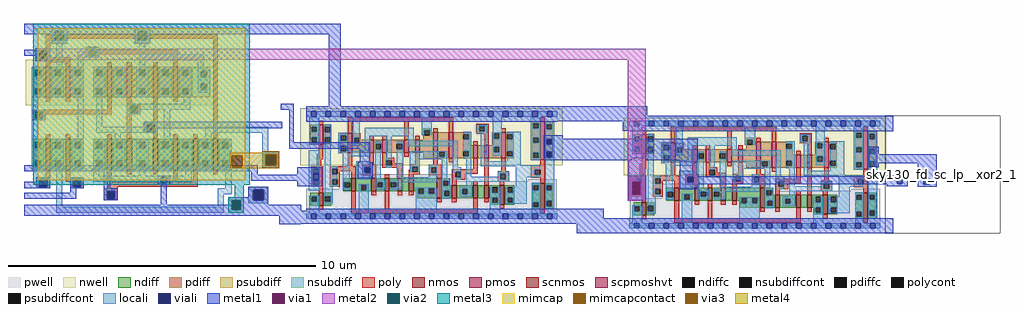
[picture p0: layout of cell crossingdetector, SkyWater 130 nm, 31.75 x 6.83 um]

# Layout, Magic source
magic
tech sky130A
magscale 1 2
<< nwell >>
rect 3389 464 3423 498
rect 5485 314 5549 448
<< pwell >>
rect 3919 99 4039 260
<< poly >>
rect 3918 221 3960 259
rect 3918 138 3999 221
rect 3918 125 3960 138
<< locali >>
rect 3923 221 3964 365
rect 3923 138 3947 221
rect 3999 141 4009 175
rect 3923 102 3964 138
<< viali >>
rect 3389 464 3423 498
rect 3389 382 3423 416
rect 2207 281 2241 315
rect 1872 230 1908 275
rect 3947 138 3999 221
rect 4309 219 4343 253
rect 5670 209 5704 243
rect 5843 206 5878 240
<< metal1 >>
rect 1606 1180 2049 1250
rect 1659 691 1746 730
rect 1971 703 2049 1180
rect 1666 690 1746 691
rect 1714 479 1746 690
rect 3432 650 4045 711
rect 3432 614 4499 650
rect 3886 553 4499 614
rect 5552 551 5644 649
rect 3370 500 3496 523
rect 3370 498 4372 500
rect 1714 435 2238 479
rect 2173 349 2238 435
rect 3370 464 3389 498
rect 3423 464 4372 498
rect 3370 416 4372 464
rect 3370 382 3389 416
rect 3423 382 4372 416
rect 3370 374 4372 382
rect 3370 361 3944 374
rect 4040 361 4372 374
rect 5485 401 5549 448
rect 40 290 1512 330
rect 1467 268 1512 290
rect 1766 275 1931 316
rect 1766 268 1872 275
rect 1467 230 1872 268
rect 1908 230 1931 275
rect 2161 315 2259 349
rect 2161 281 2207 315
rect 2241 281 2259 315
rect 2161 243 2259 281
rect 1467 227 1931 230
rect 1766 192 1931 227
rect 3919 221 4039 260
rect 3919 220 3947 221
rect 3919 138 3946 220
rect 3999 138 4039 221
rect 4255 258 4371 361
rect 5485 343 5926 401
rect 5485 314 5549 343
rect 5601 258 5738 264
rect 4255 253 5738 258
rect 4255 219 4309 253
rect 4343 243 5738 253
rect 4343 219 5670 243
rect 4255 209 5670 219
rect 5704 209 5738 243
rect 4255 205 5738 209
rect 4255 173 4371 205
rect 5601 191 5738 205
rect 5804 240 5926 343
rect 5804 206 5843 240
rect 5878 206 5926 240
rect 5804 189 5926 206
rect 3919 99 4039 138
rect 1650 32 1792 70
rect 1650 -39 1845 32
rect 3457 -17 3762 45
rect 1650 -53 1831 -39
rect 3457 -53 3990 -17
rect 1650 -55 1792 -53
rect 3587 -115 3990 -53
rect 5551 -115 5643 -17
<< via1 >>
rect 87 1019 141 1072
rect 3946 138 3947 220
rect 3947 138 3999 221
<< metal2 >>
rect 62 1086 170 1090
rect 62 1072 4034 1086
rect 62 1019 87 1072
rect 141 1019 4034 1072
rect 62 1016 4034 1019
rect 62 1004 170 1016
rect 3919 221 4034 1016
rect 3919 220 3947 221
rect 3919 138 3946 220
rect 3999 138 4034 221
rect 3919 98 4034 138
use doubletaillatchcomparator  doubletaillatchcomparator_0
transform 1 0 530 0 1 220
box -540 -220 1140 1030
use sky130_fd_sc_lp__dfxtp_1  sky130_fd_sc_lp__dfxtp_1_0 ~/sky130A/libs.ref/sky130_fd_sc_lp/mag
transform 1 0 1826 0 1 -4
box -38 -49 1670 715
use sky130_fd_sc_lp__dfxtp_1  sky130_fd_sc_lp__dfxtp_1_1
transform 1 0 3928 0 1 -66
box -38 -49 1670 715
use sky130_fd_sc_lp__xor2_1  sky130_fd_sc_lp__xor2_1_0 ~/sky130A/libs.ref/sky130_fd_sc_lp/mag
transform 1 0 5629 0 1 -66
box -38 -49 710 715
<< end >>

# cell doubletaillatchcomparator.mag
magic
tech sky130A
<< nwell >>
rect -265 250 356 398
<< nmos >>
rect -200 40 -185 140
rect -135 40 -120 140
rect 0 40 15 140
rect 65 40 80 140
rect 150 40 165 140
rect 215 40 230 140
rect 280 40 295 140
rect 345 40 360 140
<< pmos >>
rect -200 275 -185 375
rect -135 275 -120 375
rect 0 275 15 375
rect 65 275 80 375
rect 150 275 165 375
rect 215 275 230 375
<< ndiff >>
rect -245 130 -200 140
rect -245 110 -235 130
rect -215 110 -200 130
rect -245 70 -200 110
rect -245 50 -235 70
rect -215 50 -200 70
rect -245 40 -200 50
rect -185 130 -135 140
rect -185 110 -170 130
rect -150 110 -135 130
rect -185 70 -135 110
rect -185 50 -170 70
rect -150 50 -135 70
rect -185 40 -135 50
rect -120 130 -75 140
rect -120 110 -105 130
rect -85 110 -75 130
rect -120 70 -75 110
rect -120 50 -105 70
rect -85 50 -75 70
rect -120 40 -75 50
rect -45 130 0 140
rect -45 110 -35 130
rect -15 110 0 130
rect -45 70 0 110
rect -45 50 -35 70
rect -15 50 0 70
rect -45 40 0 50
rect 15 130 65 140
rect 15 110 30 130
rect 50 110 65 130
rect 15 70 65 110
rect 15 50 30 70
rect 50 50 65 70
rect 15 40 65 50
rect 80 130 150 140
rect 80 110 105 130
rect 125 110 150 130
rect 80 70 150 110
rect 80 50 105 70
rect 125 50 150 70
rect 80 40 150 50
rect 165 130 215 140
rect 165 110 180 130
rect 200 110 215 130
rect 165 70 215 110
rect 165 50 180 70
rect 200 50 215 70
rect 165 40 215 50
rect 230 130 280 140
rect 230 110 245 130
rect 265 110 280 130
rect 230 70 280 110
rect 230 50 245 70
rect 265 50 280 70
rect 230 40 280 50
rect 295 130 345 140
rect 295 110 310 130
rect 330 110 345 130
rect 295 70 345 110
rect 295 50 310 70
rect 330 50 345 70
rect 295 40 345 50
rect 360 130 405 140
rect 360 110 375 130
rect 395 110 405 130
rect 360 70 405 110
rect 360 50 375 70
rect 395 50 405 70
rect 360 40 405 50
<< pdiff >>
rect -245 365 -200 375
rect -245 345 -235 365
rect -215 345 -200 365
rect -245 305 -200 345
rect -245 285 -235 305
rect -215 285 -200 305
rect -245 275 -200 285
rect -185 365 -135 375
rect -185 345 -170 365
rect -150 345 -135 365
rect -185 305 -135 345
rect -185 285 -170 305
rect -150 285 -135 305
rect -185 275 -135 285
rect -120 365 -75 375
rect -120 345 -105 365
rect -85 345 -75 365
rect -120 305 -75 345
rect -120 285 -105 305
rect -85 285 -75 305
rect -120 275 -75 285
rect -45 365 0 375
rect -45 345 -35 365
rect -15 345 0 365
rect -45 305 0 345
rect -45 285 -35 305
rect -15 285 0 305
rect -45 275 0 285
rect 15 365 65 375
rect 15 345 30 365
rect 50 345 65 365
rect 15 305 65 345
rect 15 285 30 305
rect 50 285 65 305
rect 15 275 65 285
rect 80 365 150 375
rect 80 345 105 365
rect 125 345 150 365
rect 80 305 150 345
rect 80 285 105 305
rect 125 285 150 305
rect 80 275 150 285
rect 165 365 215 375
rect 165 345 180 365
rect 200 345 215 365
rect 165 305 215 345
rect 165 285 180 305
rect 200 285 215 305
rect 165 275 215 285
rect 230 365 275 375
rect 230 345 245 365
rect 265 345 275 365
rect 230 305 275 345
rect 230 285 245 305
rect 265 285 275 305
rect 230 275 275 285
<< ndiffc >>
rect -235 110 -215 130
rect -235 50 -215 70
rect -170 110 -150 130
rect -170 50 -150 70
rect -105 110 -85 130
rect -105 50 -85 70
rect -35 110 -15 130
rect -35 50 -15 70
rect 30 110 50 130
rect 30 50 50 70
rect 105 110 125 130
rect 105 50 125 70
rect 180 110 200 130
rect 180 50 200 70
rect 245 110 265 130
rect 245 50 265 70
rect 310 110 330 130
rect 310 50 330 70
rect 375 110 395 130
rect 375 50 395 70
<< pdiffc >>
rect -235 345 -215 365
rect -235 285 -215 305
rect -170 345 -150 365
rect -170 285 -150 305
rect -105 345 -85 365
rect -105 285 -85 305
rect -35 345 -15 365
rect -35 285 -15 305
rect 30 345 50 365
rect 30 285 50 305
rect 105 345 125 365
rect 105 285 125 305
rect 180 345 200 365
rect 180 285 200 305
rect 245 345 265 365
rect 245 285 265 305
<< psubdiff >>
rect 460 -25 525 -15
rect 460 -60 475 -25
rect 510 -60 525 -25
rect 460 -70 525 -60
<< nsubdiff >>
rect 275 360 335 375
rect 275 340 305 360
rect 325 340 335 360
rect 275 320 335 340
rect 275 300 305 320
rect 325 300 335 320
rect 275 275 335 300
<< psubdiffcont >>
rect 475 -60 510 -25
<< nsubdiffcont >>
rect 305 340 325 360
rect 305 300 325 320
<< poly >>
rect -200 465 360 480
rect -200 430 -185 465
rect -230 425 -185 430
rect -230 400 -220 425
rect -195 405 -185 425
rect -70 435 -25 440
rect -70 410 -60 435
rect -35 430 -25 435
rect -35 415 230 430
rect -35 410 -25 415
rect -70 405 -25 410
rect -195 400 -120 405
rect -230 395 -120 400
rect -200 390 -120 395
rect -200 375 -185 390
rect -135 375 -120 390
rect 0 375 15 390
rect 65 375 80 390
rect 150 375 165 390
rect 215 375 230 415
rect -200 260 -185 275
rect -135 260 -120 275
rect 0 235 15 275
rect -245 230 15 235
rect -245 205 -235 230
rect -210 220 15 230
rect 65 255 80 275
rect 65 250 110 255
rect 65 225 75 250
rect 100 225 110 250
rect 65 220 110 225
rect -210 205 -200 220
rect -245 200 -200 205
rect -200 140 -185 155
rect -135 140 -120 155
rect 0 140 15 155
rect 65 140 80 220
rect 150 195 165 275
rect 215 260 230 275
rect 120 190 165 195
rect 120 165 130 190
rect 155 165 165 190
rect 120 160 165 165
rect 150 140 165 160
rect 215 140 230 155
rect 280 140 295 155
rect 345 140 360 465
rect -200 15 -185 40
rect -230 10 -185 15
rect -230 -15 -220 10
rect -195 -15 -185 10
rect -135 15 -120 40
rect -135 10 -75 15
rect -135 0 -110 10
rect -230 -20 -185 -15
rect -120 -15 -110 0
rect -85 -15 -75 10
rect -120 -20 -75 -15
rect 0 0 15 40
rect 65 25 80 40
rect 150 25 165 40
rect 215 0 230 40
rect 280 0 295 40
rect 345 25 360 40
rect 0 -15 295 0
rect 0 -20 35 -15
rect -10 -30 35 -20
rect -10 -55 0 -30
rect 25 -55 35 -30
rect -10 -60 35 -55
<< polycont >>
rect -220 400 -195 425
rect -60 410 -35 435
rect -235 205 -210 230
rect 75 225 100 250
rect 130 165 155 190
rect -220 -15 -195 10
rect -110 -15 -85 10
rect 0 -55 25 -30
<< locali >>
rect -180 490 -130 500
rect -180 460 -170 490
rect -140 460 -130 490
rect -180 450 -130 460
rect 90 490 140 500
rect 90 460 100 490
rect 130 460 140 490
rect 90 450 140 460
rect -230 425 -185 430
rect -230 400 -220 425
rect -195 400 -185 425
rect -230 395 -185 400
rect -165 375 -145 450
rect -70 435 -25 440
rect -70 425 -60 435
rect -95 410 -60 425
rect -35 410 -25 435
rect -95 405 -25 410
rect 105 415 125 450
rect -95 375 -75 405
rect 105 395 315 415
rect 105 375 125 395
rect -245 365 -205 375
rect -245 345 -235 365
rect -215 345 -205 365
rect -245 305 -205 345
rect -245 285 -235 305
rect -215 285 -205 305
rect -245 275 -205 285
rect -180 365 -140 375
rect -180 345 -170 365
rect -150 345 -140 365
rect -180 305 -140 345
rect -180 285 -170 305
rect -150 285 -140 305
rect -180 275 -140 285
rect -115 365 -75 375
rect -115 345 -105 365
rect -85 345 -75 365
rect -115 305 -75 345
rect -115 285 -105 305
rect -85 285 -75 305
rect -115 275 -75 285
rect -45 365 -5 375
rect -45 345 -35 365
rect -15 345 -5 365
rect -45 305 -5 345
rect -45 285 -35 305
rect -15 285 -5 305
rect -45 275 -5 285
rect 20 365 60 375
rect 20 345 30 365
rect 50 345 60 365
rect 20 305 60 345
rect 20 285 30 305
rect 50 285 60 305
rect 20 275 60 285
rect 95 365 135 375
rect 95 345 105 365
rect 125 345 135 365
rect 95 305 135 345
rect 95 285 105 305
rect 125 285 135 305
rect 95 275 135 285
rect 170 365 210 375
rect 170 345 180 365
rect 200 345 210 365
rect 170 305 210 345
rect 170 285 180 305
rect 200 285 210 305
rect 170 275 210 285
rect 235 365 275 375
rect 235 345 245 365
rect 265 345 275 365
rect 235 305 275 345
rect 235 285 245 305
rect 265 285 275 305
rect 295 365 315 395
rect 295 360 335 365
rect 295 340 305 360
rect 325 340 335 360
rect 295 320 335 340
rect 295 300 305 320
rect 325 300 335 320
rect 295 290 335 300
rect 235 275 275 285
rect -245 235 -225 275
rect -245 230 -200 235
rect -245 205 -235 230
rect -210 205 -200 230
rect -245 200 -200 205
rect -245 140 -225 200
rect -95 140 -75 275
rect -35 180 -15 275
rect 250 255 270 275
rect 65 250 270 255
rect 65 225 75 250
rect 100 235 270 250
rect 100 225 110 235
rect 65 220 110 225
rect 120 190 165 195
rect 120 180 130 190
rect -35 165 130 180
rect 155 165 165 190
rect -35 160 165 165
rect 25 140 45 160
rect 185 140 205 235
rect 320 160 525 180
rect 320 140 340 160
rect -245 130 -205 140
rect -245 110 -235 130
rect -215 110 -205 130
rect -245 70 -205 110
rect -245 50 -235 70
rect -215 50 -205 70
rect -245 40 -205 50
rect -180 130 -140 140
rect -180 110 -170 130
rect -150 110 -140 130
rect -180 70 -140 110
rect -180 50 -170 70
rect -150 50 -140 70
rect -180 40 -140 50
rect -115 130 -75 140
rect -115 110 -105 130
rect -85 110 -75 130
rect -115 70 -75 110
rect -115 50 -105 70
rect -85 50 -75 70
rect -115 40 -75 50
rect -45 130 -5 140
rect -45 110 -35 130
rect -15 110 -5 130
rect -45 70 -5 110
rect -45 50 -35 70
rect -15 50 -5 70
rect -45 40 -5 50
rect 20 130 60 140
rect 20 110 30 130
rect 50 110 60 130
rect 20 70 60 110
rect 20 50 30 70
rect 50 50 60 70
rect 20 40 60 50
rect 95 130 135 140
rect 95 110 105 130
rect 125 110 135 130
rect 95 70 135 110
rect 95 50 105 70
rect 125 50 135 70
rect 95 40 135 50
rect 170 130 210 140
rect 170 110 180 130
rect 200 110 210 130
rect 170 70 210 110
rect 170 50 180 70
rect 200 50 210 70
rect 170 40 210 50
rect 235 130 275 140
rect 235 110 245 130
rect 265 110 275 130
rect 235 70 275 110
rect 235 50 245 70
rect 265 50 275 70
rect 235 40 275 50
rect 300 130 340 140
rect 300 110 310 130
rect 330 110 340 130
rect 300 70 340 110
rect 300 50 310 70
rect 330 50 340 70
rect 300 40 340 50
rect 365 130 405 140
rect 365 110 375 130
rect 395 110 405 130
rect 365 70 405 110
rect 365 50 375 70
rect 395 50 405 70
rect 365 40 405 50
rect 505 100 525 160
rect 505 90 560 100
rect 505 55 515 90
rect 550 55 560 90
rect 505 45 560 55
rect -230 10 -185 15
rect -230 -15 -220 10
rect -195 -15 -185 10
rect -230 -20 -185 -15
rect -165 -80 -145 40
rect -45 20 -25 40
rect 105 20 125 40
rect 255 20 275 40
rect -45 15 275 20
rect -120 10 -75 15
rect -120 -15 -110 10
rect -85 -15 -75 10
rect -45 0 175 15
rect 165 -5 175 0
rect 195 0 275 15
rect 195 -5 205 0
rect 165 -10 205 -5
rect -120 -20 -75 -15
rect 385 -20 405 40
rect -10 -30 35 -20
rect -10 -55 0 -30
rect 25 -55 35 -30
rect -10 -60 35 -55
rect 360 -40 405 -20
rect 460 -25 525 -15
rect 360 -80 380 -40
rect 460 -60 475 -25
rect 510 -60 525 -25
rect -165 -100 380 -80
rect 460 -70 525 -60
<< viali >>
rect -170 460 -140 490
rect 100 460 130 490
rect -220 400 -195 425
rect 130 165 155 190
rect 515 55 550 90
rect -220 -15 -195 10
rect -110 -15 -85 10
rect 175 -5 195 15
rect 0 -55 25 -30
rect 475 -60 510 -25
rect 405 -90 435 -60
<< metal1 >>
rect -270 490 570 515
rect -270 480 -170 490
rect -180 460 -170 480
rect -140 480 100 490
rect -140 460 -130 480
rect -180 450 -130 460
rect 90 460 100 480
rect 130 480 570 490
rect 130 460 140 480
rect 90 450 140 460
rect -270 425 -185 430
rect -270 410 -220 425
rect -230 400 -220 410
rect -195 400 -185 425
rect -230 395 -185 400
rect 120 190 570 195
rect 120 165 130 190
rect 155 175 570 190
rect 155 165 165 175
rect 120 160 165 165
rect 505 90 560 100
rect 505 55 515 90
rect 550 55 560 90
rect -270 35 10 55
rect 505 45 560 55
rect -230 10 -185 15
rect -230 0 -220 10
rect -270 -15 -220 0
rect -195 -15 -185 10
rect -270 -20 -185 -15
rect -120 10 -75 15
rect -120 -15 -110 10
rect -85 -15 -75 10
rect -120 -20 -75 -15
rect -10 -20 10 35
rect 165 15 205 20
rect 165 -5 175 15
rect 195 -5 205 15
rect 165 -10 205 -5
rect -120 -35 -100 -20
rect -270 -55 -100 -35
rect -10 -30 35 -20
rect -10 -55 0 -30
rect 25 -55 35 -30
rect -10 -60 35 -55
rect 175 -75 195 -10
rect 460 -25 525 -15
rect 460 -50 475 -25
rect 395 -60 475 -50
rect 510 -60 525 -25
rect 395 -75 405 -60
rect -270 -90 405 -75
rect 435 -75 525 -60
rect 435 -90 570 -75
rect -270 -110 570 -90
<< via1 >>
rect 515 55 550 90
rect 405 -90 435 -60
<< metal2 >>
rect 505 90 560 100
rect 505 55 515 90
rect 550 55 560 90
rect 505 45 560 55
rect 395 -60 445 -50
rect 395 -90 405 -60
rect 435 -90 445 -60
rect 395 -100 445 -90
<< via2 >>
rect 515 55 550 90
rect 405 -90 435 -60
<< metal3 >>
rect -240 -10 465 515
rect 505 90 560 100
rect 505 55 515 90
rect 550 55 560 90
rect 505 45 560 55
rect 415 -50 445 -10
rect 395 -60 445 -50
rect 395 -90 405 -60
rect 435 -90 445 -60
rect 395 -100 445 -90
<< via3 >>
rect 515 55 550 90
<< mimcap >>
rect -225 85 450 500
rect -225 50 405 85
rect 440 50 450 85
rect -225 5 450 50
<< mimcapcontact >>
rect 405 50 440 85
<< metal4 >>
rect 505 95 560 100
rect 400 90 560 95
rect 400 85 515 90
rect 400 50 405 85
rect 440 55 515 85
rect 550 55 560 90
rect 440 50 560 55
rect 400 45 560 50
<< labels >>
rlabel metal1 -270 -15 -270 -15 7 Vref1
rlabel metal1 -270 425 -270 425 7 clk
rlabel metal1 -270 -90 -270 -90 7 GND
rlabel metal1 -270 490 -270 490 7 VDD
rlabel metal1 -270 45 -270 45 7 clkbar
rlabel metal1 -270 -45 -270 -45 7 vref2
rlabel metal1 569 -95 570 -95 3 gnd
rlabel metal1 569 497 570 497 3 vdd
rlabel metal1 570 186 570 186 3 out
<< end >>

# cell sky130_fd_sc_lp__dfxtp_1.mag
magic
tech sky130A
magscale 1 2
<< nwell >>
rect -38 331 1670 704
<< pwell >>
rect 214 229 959 273
rect 1443 229 1631 241
rect 214 180 1631 229
rect 1 49 1631 180
rect 0 0 1632 49
<< scnmos >>
rect 293 163 323 247
rect 424 163 454 247
rect 510 163 540 247
rect 596 163 626 247
rect 668 163 698 247
rect 80 70 110 154
rect 850 119 880 247
rect 948 119 978 203
rect 1086 119 1116 203
rect 1158 119 1188 203
rect 1259 75 1289 203
rect 1522 47 1552 215
<< scpmoshvt >>
rect 80 468 110 596
rect 270 413 300 541
rect 410 413 440 497
rect 496 413 526 497
rect 636 413 666 497
rect 708 413 738 497
rect 825 379 855 547
rect 927 379 957 547
rect 1086 379 1116 463
rect 1158 379 1188 463
rect 1267 379 1297 547
rect 1522 367 1552 619
<< ndiff >>
rect 240 221 293 247
rect 240 187 248 221
rect 282 187 293 221
rect 240 163 293 187
rect 323 205 424 247
rect 323 171 358 205
rect 392 171 424 205
rect 323 163 424 171
rect 454 222 510 247
rect 454 188 465 222
rect 499 188 510 222
rect 454 163 510 188
rect 540 222 596 247
rect 540 188 551 222
rect 585 188 596 222
rect 540 163 596 188
rect 626 163 668 247
rect 698 182 850 247
rect 698 163 730 182
rect 27 129 80 154
rect 27 95 35 129
rect 69 95 80 129
rect 27 70 80 95
rect 110 130 163 154
rect 110 96 121 130
rect 155 96 163 130
rect 110 70 163 96
rect 722 148 730 163
rect 764 148 798 182
rect 832 148 850 182
rect 722 119 850 148
rect 880 233 933 247
rect 880 199 891 233
rect 925 203 933 233
rect 1469 203 1522 215
rect 925 199 948 203
rect 880 165 948 199
rect 880 131 897 165
rect 931 131 948 165
rect 880 119 948 131
rect 978 178 1086 203
rect 978 144 1014 178
rect 1048 144 1086 178
rect 978 119 1086 144
rect 1116 119 1158 203
rect 1188 189 1259 203
rect 1188 155 1211 189
rect 1245 155 1259 189
rect 1188 121 1259 155
rect 1188 119 1211 121
rect 1203 87 1211 119
rect 1245 87 1259 121
rect 1203 75 1259 87
rect 1289 189 1353 203
rect 1289 155 1311 189
rect 1345 155 1353 189
rect 1289 121 1353 155
rect 1289 87 1311 121
rect 1345 87 1353 121
rect 1289 75 1353 87
rect 1469 169 1477 203
rect 1511 169 1522 203
rect 1469 93 1522 169
rect 1469 59 1477 93
rect 1511 59 1522 93
rect 1469 47 1522 59
rect 1552 203 1605 215
rect 1552 169 1563 203
rect 1597 169 1605 203
rect 1552 101 1605 169
rect 1552 67 1563 101
rect 1597 67 1605 101
rect 1552 47 1605 67
<< pdiff >>
rect 27 584 80 596
rect 27 550 35 584
rect 69 550 80 584
rect 27 515 80 550
rect 27 481 35 515
rect 69 481 80 515
rect 27 468 80 481
rect 110 582 163 596
rect 110 548 121 582
rect 155 548 163 582
rect 110 514 163 548
rect 110 480 121 514
rect 155 480 163 514
rect 110 468 163 480
rect 217 527 270 541
rect 217 493 225 527
rect 259 493 270 527
rect 217 459 270 493
rect 217 425 225 459
rect 259 425 270 459
rect 217 413 270 425
rect 300 510 353 541
rect 300 476 311 510
rect 345 497 353 510
rect 760 561 810 573
rect 760 527 768 561
rect 802 547 810 561
rect 1469 607 1522 619
rect 1469 573 1477 607
rect 1511 573 1522 607
rect 802 527 825 547
rect 760 497 825 527
rect 345 476 410 497
rect 300 413 410 476
rect 440 471 496 497
rect 440 437 451 471
rect 485 437 496 471
rect 440 413 496 437
rect 526 471 636 497
rect 526 437 589 471
rect 623 437 636 471
rect 526 413 636 437
rect 666 413 708 497
rect 738 413 825 497
rect 760 379 825 413
rect 855 421 927 547
rect 855 387 866 421
rect 900 387 927 421
rect 855 379 927 387
rect 957 535 1064 547
rect 957 501 1022 535
rect 1056 501 1064 535
rect 957 463 1064 501
rect 1210 539 1267 547
rect 1210 505 1222 539
rect 1256 505 1267 539
rect 1210 463 1267 505
rect 957 425 1086 463
rect 957 391 1022 425
rect 1056 391 1086 425
rect 957 379 1086 391
rect 1116 379 1158 463
rect 1188 452 1267 463
rect 1188 418 1223 452
rect 1257 418 1267 452
rect 1188 379 1267 418
rect 1297 534 1350 547
rect 1297 500 1308 534
rect 1342 500 1350 534
rect 1297 425 1350 500
rect 1297 391 1308 425
rect 1342 391 1350 425
rect 1297 379 1350 391
rect 1469 512 1522 573
rect 1469 478 1477 512
rect 1511 478 1522 512
rect 1469 415 1522 478
rect 1469 381 1477 415
rect 1511 381 1522 415
rect 1469 367 1522 381
rect 1552 599 1605 619
rect 1552 565 1563 599
rect 1597 565 1605 599
rect 1552 502 1605 565
rect 1552 468 1563 502
rect 1597 468 1605 502
rect 1552 420 1605 468
rect 1552 386 1563 420
rect 1597 386 1605 420
rect 1552 367 1605 386
<< ndiffc >>
rect 248 187 282 221
rect 358 171 392 205
rect 465 188 499 222
rect 551 188 585 222
rect 35 95 69 129
rect 121 96 155 130
rect 730 148 764 182
rect 798 148 832 182
rect 891 199 925 233
rect 897 131 931 165
rect 1014 144 1048 178
rect 1211 155 1245 189
rect 1211 87 1245 121
rect 1311 155 1345 189
rect 1311 87 1345 121
rect 1477 169 1511 203
rect 1477 59 1511 93
rect 1563 169 1597 203
rect 1563 67 1597 101
<< pdiffc >>
rect 35 550 69 584
rect 35 481 69 515
rect 121 548 155 582
rect 121 480 155 514
rect 225 493 259 527
rect 225 425 259 459
rect 311 476 345 510
rect 768 527 802 561
rect 1477 573 1511 607
rect 451 437 485 471
rect 589 437 623 471
rect 866 387 900 421
rect 1022 501 1056 535
rect 1222 505 1256 539
rect 1022 391 1056 425
rect 1223 418 1257 452
rect 1308 500 1342 534
rect 1308 391 1342 425
rect 1477 478 1511 512
rect 1477 381 1511 415
rect 1563 565 1597 599
rect 1563 468 1597 502
rect 1563 386 1597 420
<< poly >>
rect 80 596 110 622
rect 270 615 957 645
rect 1522 619 1552 645
rect 270 541 300 615
rect 80 403 110 468
rect 410 497 440 523
rect 496 497 526 523
rect 636 497 666 615
rect 825 547 855 573
rect 927 547 957 615
rect 1107 586 1188 602
rect 1107 552 1126 586
rect 1160 552 1188 586
rect 708 497 738 523
rect 67 373 110 403
rect 67 325 97 373
rect 270 325 300 413
rect 410 335 440 413
rect 496 381 526 413
rect 636 387 666 413
rect 496 365 571 381
rect 31 309 110 325
rect 31 275 47 309
rect 81 275 110 309
rect 31 241 110 275
rect 31 207 47 241
rect 81 207 110 241
rect 31 191 110 207
rect 152 309 323 325
rect 152 275 168 309
rect 202 295 323 309
rect 202 275 218 295
rect 152 241 218 275
rect 293 247 323 295
rect 365 319 454 335
rect 365 285 381 319
rect 415 285 454 319
rect 496 331 521 365
rect 555 345 571 365
rect 555 331 626 345
rect 708 339 738 413
rect 1107 536 1188 552
rect 1267 547 1297 573
rect 1086 463 1116 489
rect 1158 463 1188 536
rect 496 315 626 331
rect 365 269 454 285
rect 424 247 454 269
rect 510 247 540 273
rect 596 247 626 315
rect 674 323 740 339
rect 825 335 855 379
rect 927 353 957 379
rect 674 303 690 323
rect 668 289 690 303
rect 724 289 740 323
rect 668 273 740 289
rect 796 319 880 335
rect 796 285 812 319
rect 846 285 880 319
rect 1086 307 1116 379
rect 1005 305 1116 307
rect 668 247 698 273
rect 796 269 880 285
rect 850 247 880 269
rect 948 289 1116 305
rect 948 255 971 289
rect 1005 277 1116 289
rect 1005 255 1035 277
rect 152 207 168 241
rect 202 207 218 241
rect 152 191 218 207
rect 80 154 110 191
rect 80 44 110 70
rect 293 51 323 163
rect 424 137 454 163
rect 510 51 540 163
rect 596 137 626 163
rect 668 137 698 163
rect 948 239 1035 255
rect 948 203 978 239
rect 1086 203 1116 229
rect 1158 203 1188 379
rect 1267 294 1297 379
rect 1522 331 1552 367
rect 1459 304 1552 331
rect 1245 291 1317 294
rect 1245 277 1319 291
rect 1245 242 1263 277
rect 1299 242 1319 277
rect 1459 270 1487 304
rect 1521 270 1552 304
rect 1459 250 1552 270
rect 1245 224 1319 242
rect 1259 203 1289 224
rect 1522 215 1552 250
rect 850 93 880 119
rect 948 93 978 119
rect 1086 51 1116 119
rect 1158 93 1188 119
rect 293 21 1116 51
rect 1259 49 1289 75
rect 1522 21 1552 47
<< polycont >>
rect 1126 552 1160 586
rect 47 275 81 309
rect 47 207 81 241
rect 168 275 202 309
rect 381 285 415 319
rect 521 331 555 365
rect 690 289 724 323
rect 812 285 846 319
rect 971 255 1005 289
rect 168 207 202 241
rect 1263 242 1299 277
rect 1487 270 1521 304
<< locali >>
rect 0 649 31 683
rect 65 649 127 683
rect 161 649 223 683
rect 257 649 319 683
rect 353 649 415 683
rect 449 649 511 683
rect 545 649 607 683
rect 641 649 703 683
rect 737 649 799 683
rect 833 649 895 683
rect 929 649 991 683
rect 1025 649 1087 683
rect 1121 649 1183 683
rect 1217 649 1279 683
rect 1313 649 1375 683
rect 1409 649 1471 683
rect 1505 649 1567 683
rect 1601 649 1632 683
rect 19 584 85 649
rect 19 550 35 584
rect 69 550 85 584
rect 19 515 85 550
rect 19 481 35 515
rect 69 481 85 515
rect 19 465 85 481
rect 119 582 159 598
rect 119 548 121 582
rect 155 548 159 582
rect 119 514 159 548
rect 119 480 121 514
rect 155 480 159 514
rect 17 309 85 431
rect 17 275 47 309
rect 81 275 85 309
rect 17 241 85 275
rect 17 207 47 241
rect 81 207 85 241
rect 17 168 85 207
rect 119 325 159 480
rect 209 527 270 543
rect 209 493 225 527
rect 259 493 270 527
rect 209 459 270 493
rect 304 510 347 649
rect 304 476 311 510
rect 345 476 347 510
rect 304 460 347 476
rect 381 521 699 576
rect 752 561 818 649
rect 752 527 768 561
rect 802 527 818 561
rect 1110 586 1177 597
rect 1110 552 1126 586
rect 1160 552 1177 586
rect 1022 535 1075 551
rect 1110 541 1177 552
rect 209 425 225 459
rect 259 426 270 459
rect 381 426 415 521
rect 259 425 415 426
rect 209 409 415 425
rect 236 392 415 409
rect 449 471 485 487
rect 449 437 451 471
rect 119 309 202 325
rect 119 275 168 309
rect 119 241 202 275
rect 119 207 168 241
rect 119 191 202 207
rect 236 221 282 392
rect 325 319 415 358
rect 325 285 381 319
rect 325 242 415 285
rect 19 129 85 134
rect 19 95 35 129
rect 69 95 85 129
rect 19 17 85 95
rect 119 130 171 191
rect 236 187 248 221
rect 449 238 485 437
rect 519 365 555 521
rect 665 491 699 521
rect 1056 501 1075 535
rect 519 331 521 365
rect 519 315 555 331
rect 589 471 631 487
rect 623 437 631 471
rect 665 457 986 491
rect 589 255 631 437
rect 674 421 916 423
rect 674 387 866 421
rect 900 387 916 421
rect 674 371 916 387
rect 674 323 740 371
rect 674 289 690 323
rect 724 289 740 323
rect 796 319 848 335
rect 796 285 812 319
rect 846 285 848 319
rect 796 255 848 285
rect 589 238 848 255
rect 449 222 515 238
rect 236 171 282 187
rect 342 205 408 208
rect 342 171 358 205
rect 392 171 408 205
rect 449 188 465 222
rect 499 188 515 222
rect 449 172 515 188
rect 551 222 848 238
rect 585 221 848 222
rect 882 249 916 371
rect 952 319 986 457
rect 1022 425 1075 501
rect 1056 391 1075 425
rect 1022 375 1075 391
rect 952 289 1007 319
rect 952 285 971 289
rect 1005 255 1007 289
rect 882 233 937 249
rect 971 239 1007 255
rect 1041 259 1075 375
rect 1135 359 1170 541
rect 1212 539 1272 649
rect 1461 607 1521 649
rect 1461 573 1477 607
rect 1511 573 1521 607
rect 1212 505 1222 539
rect 1256 505 1272 539
rect 1212 452 1272 505
rect 1212 418 1223 452
rect 1257 418 1272 452
rect 1212 393 1272 418
rect 1308 534 1397 550
rect 1342 500 1397 534
rect 1308 425 1397 500
rect 1342 391 1397 425
rect 1308 359 1397 391
rect 1461 512 1521 573
rect 1461 478 1477 512
rect 1511 478 1521 512
rect 1461 415 1521 478
rect 1461 381 1477 415
rect 1511 381 1521 415
rect 1461 365 1521 381
rect 1555 599 1613 615
rect 1555 565 1563 599
rect 1597 565 1613 599
rect 1555 502 1613 565
rect 1555 468 1563 502
rect 1597 468 1613 502
rect 1555 420 1613 468
rect 1555 386 1563 420
rect 1597 386 1613 420
rect 1135 331 1397 359
rect 1135 325 1521 331
rect 1363 304 1521 325
rect 1245 277 1319 291
rect 1245 259 1263 277
rect 1041 242 1263 259
rect 1299 242 1319 277
rect 585 188 625 221
rect 551 172 625 188
rect 882 199 891 233
rect 925 199 937 233
rect 714 182 848 187
rect 119 96 121 130
rect 155 96 171 130
rect 119 80 171 96
rect 342 17 408 171
rect 714 148 730 182
rect 764 148 798 182
rect 832 148 848 182
rect 714 17 848 148
rect 882 165 937 199
rect 1041 225 1319 242
rect 1041 194 1079 225
rect 1245 224 1319 225
rect 1363 270 1487 304
rect 1363 254 1521 270
rect 882 131 897 165
rect 931 131 937 165
rect 882 115 937 131
rect 998 178 1079 194
rect 1363 189 1434 254
rect 998 144 1014 178
rect 1048 144 1079 178
rect 998 128 1079 144
rect 1195 155 1211 189
rect 1245 155 1261 189
rect 1195 121 1261 155
rect 1195 87 1211 121
rect 1245 87 1261 121
rect 1195 17 1261 87
rect 1295 155 1311 189
rect 1345 155 1434 189
rect 1295 121 1434 155
rect 1295 87 1311 121
rect 1345 87 1434 121
rect 1295 83 1434 87
rect 1468 203 1521 219
rect 1468 169 1477 203
rect 1511 169 1521 203
rect 1468 93 1521 169
rect 1468 59 1477 93
rect 1511 59 1521 93
rect 1468 17 1521 59
rect 1555 203 1613 386
rect 1555 169 1563 203
rect 1597 169 1613 203
rect 1555 101 1613 169
rect 1555 67 1563 101
rect 1597 67 1613 101
rect 1555 51 1613 67
rect 0 -17 31 17
rect 65 -17 127 17
rect 161 -17 223 17
rect 257 -17 319 17
rect 353 -17 415 17
rect 449 -17 511 17
rect 545 -17 607 17
rect 641 -17 703 17
rect 737 -17 799 17
rect 833 -17 895 17
rect 929 -17 991 17
rect 1025 -17 1087 17
rect 1121 -17 1183 17
rect 1217 -17 1279 17
rect 1313 -17 1375 17
rect 1409 -17 1471 17
rect 1505 -17 1567 17
rect 1601 -17 1632 17
<< viali >>
rect 31 649 65 683
rect 127 649 161 683
rect 223 649 257 683
rect 319 649 353 683
rect 415 649 449 683
rect 511 649 545 683
rect 607 649 641 683
rect 703 649 737 683
rect 799 649 833 683
rect 895 649 929 683
rect 991 649 1025 683
rect 1087 649 1121 683
rect 1183 649 1217 683
rect 1279 649 1313 683
rect 1375 649 1409 683
rect 1471 649 1505 683
rect 1567 649 1601 683
rect 31 -17 65 17
rect 127 -17 161 17
rect 223 -17 257 17
rect 319 -17 353 17
rect 415 -17 449 17
rect 511 -17 545 17
rect 607 -17 641 17
rect 703 -17 737 17
rect 799 -17 833 17
rect 895 -17 929 17
rect 991 -17 1025 17
rect 1087 -17 1121 17
rect 1183 -17 1217 17
rect 1279 -17 1313 17
rect 1375 -17 1409 17
rect 1471 -17 1505 17
rect 1567 -17 1601 17
<< metal1 >>
rect 0 683 1632 715
rect 0 649 31 683
rect 65 649 127 683
rect 161 649 223 683
rect 257 649 319 683
rect 353 649 415 683
rect 449 649 511 683
rect 545 649 607 683
rect 641 649 703 683
rect 737 649 799 683
rect 833 649 895 683
rect 929 649 991 683
rect 1025 649 1087 683
rect 1121 649 1183 683
rect 1217 649 1279 683
rect 1313 649 1375 683
rect 1409 649 1471 683
rect 1505 649 1567 683
rect 1601 649 1632 683
rect 0 617 1632 649
rect 0 17 1632 49
rect 0 -17 31 17
rect 65 -17 127 17
rect 161 -17 223 17
rect 257 -17 319 17
rect 353 -17 415 17
rect 449 -17 511 17
rect 545 -17 607 17
rect 641 -17 703 17
rect 737 -17 799 17
rect 833 -17 895 17
rect 929 -17 991 17
rect 1025 -17 1087 17
rect 1121 -17 1183 17
rect 1217 -17 1279 17
rect 1313 -17 1375 17
rect 1409 -17 1471 17
rect 1505 -17 1567 17
rect 1601 -17 1632 17
rect 0 -49 1632 -17
<< labels >>
flabel pwell s 0 0 1632 49 0 FreeSans 200 0 0 0 VNB
port 4 nsew ground bidirectional
flabel nwell s 0 617 1632 666 0 FreeSans 200 0 0 0 VPB
port 5 nsew power bidirectional
rlabel comment s 0 0 0 0 4 dfxtp_1
flabel metal1 s 0 617 1632 666 0 FreeSans 340 0 0 0 VPWR
port 6 nsew power bidirectional
flabel metal1 s 0 0 1632 49 0 FreeSans 340 0 0 0 VGND
port 3 nsew ground bidirectional
flabel locali s 31 168 65 202 0 FreeSans 340 0 0 0 CLK
port 1 nsew clock input
flabel locali s 31 242 65 276 0 FreeSans 340 0 0 0 CLK
port 1 nsew clock input
flabel locali s 31 316 65 350 0 FreeSans 340 0 0 0 CLK
port 1 nsew clock input
flabel locali s 31 390 65 424 0 FreeSans 340 0 0 0 CLK
port 1 nsew clock input
flabel locali s 319 242 353 276 0 FreeSans 340 0 0 0 D
port 2 nsew signal input
flabel locali s 319 316 353 350 0 FreeSans 340 0 0 0 D
port 2 nsew signal input
flabel locali s 1567 538 1601 572 0 FreeSans 340 0 0 0 Q
port 7 nsew signal output
flabel locali s 1567 464 1601 498 0 FreeSans 340 0 0 0 Q
port 7 nsew signal output
flabel locali s 1567 390 1601 424 0 FreeSans 340 0 0 0 Q
port 7 nsew signal output
flabel locali s 1567 316 1601 350 0 FreeSans 340 0 0 0 Q
port 7 nsew signal output
flabel locali s 1567 242 1601 276 0 FreeSans 340 0 0 0 Q
port 7 nsew signal output
flabel locali s 1567 168 1601 202 0 FreeSans 340 0 0 0 Q
port 7 nsew signal output
flabel locali s 1567 94 1601 128 0 FreeSans 340 0 0 0 Q
port 7 nsew signal output
<< properties >>
string LEFclass CORE
string LEFsite unit
string FIXED_BBOX 0 0 1632 666
string GDS_FILE $PDKPATH/libs.ref/sky130_fd_sc_lp/gds/sky130_fd_sc_lp.gds
string GDS_START 110132
string GDS_END 122576
string LEFsymmetry X Y R90
<< end >>
